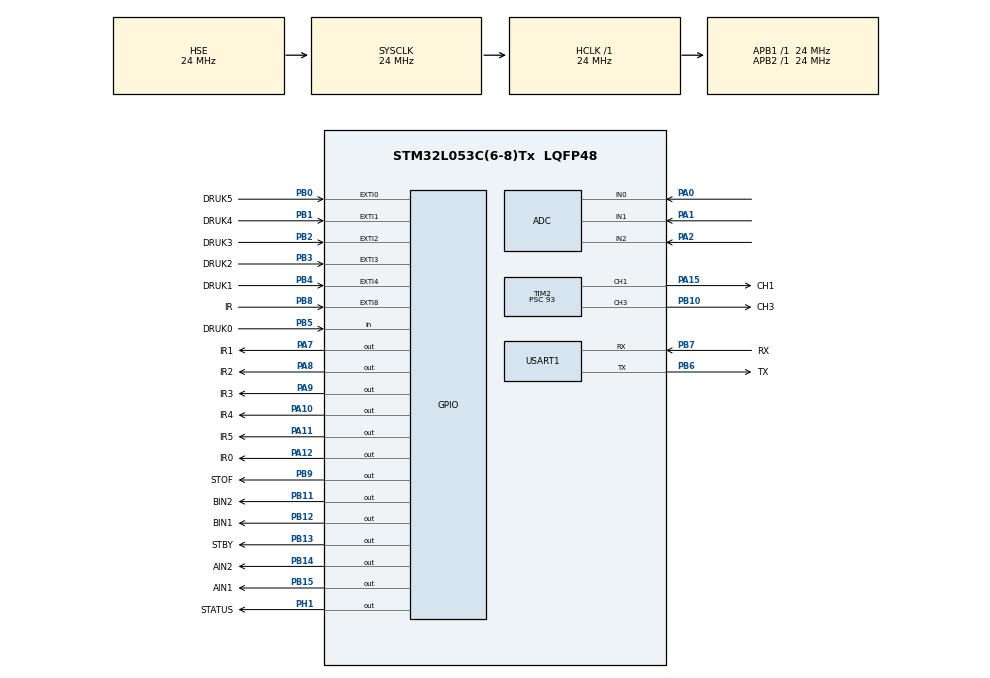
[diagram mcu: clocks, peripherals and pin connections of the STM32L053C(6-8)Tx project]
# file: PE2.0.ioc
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ADC.DiscontinuousConvMode=ENABLE
ADC.EOCSelection=ADC_EOC_SINGLE_CONV
Mcu.Family=STM32L0
Mcu.Name=STM32L053C(6-8)Tx
Mcu.Package=LQFP48
NVIC.EXTI0_1_IRQn=true\:0\:0\:false\:false\:true\:true\:true\:true
NVIC.EXTI2_3_IRQn=true\:0\:0\:false\:false\:true\:true\:true\:true
NVIC.EXTI4_15_IRQn=true\:0\:0\:false\:false\:true\:true\:true\:true
NVIC.TIM6_DAC_IRQn=true\:0\:0\:false\:false\:true\:true\:true\:true
PA0.Mode=IN0
PA0.Signal=ADC_IN0
PA1.Mode=IN1
PA1.Signal=ADC_IN1
PA10.GPIO_Label=IR4
PA10.GPIO_ModeDefaultOutputPP=GPIO_MODE_OUTPUT_PP
PA10.GPIO_PuPd=GPIO_NOPULL
PA10.GPIO_Speed=GPIO_SPEED_FREQ_LOW
PA10.PinState=GPIO_PIN_RESET
PA10.Signal=GPIO_Output
PA11.GPIO_Label=IR5
PA11.GPIO_ModeDefaultOutputPP=GPIO_MODE_OUTPUT_PP
PA11.GPIO_PuPd=GPIO_NOPULL
PA11.GPIO_Speed=GPIO_SPEED_FREQ_LOW
PA11.PinState=GPIO_PIN_RESET
PA11.Signal=GPIO_Output
PA12.GPIO_Label=IR0
PA12.GPIO_ModeDefaultOutputPP=GPIO_MODE_OUTPUT_PP
PA12.GPIO_PuPd=GPIO_NOPULL
PA12.GPIO_Speed=GPIO_SPEED_FREQ_LOW
PA12.PinState=GPIO_PIN_RESET
PA12.Signal=GPIO_Output
PA13.Mode=Serial_Wire
PA13.Signal=SYS_SWDIO
PA14.Mode=Serial_Wire
PA14.Signal=SYS_SWCLK
PA15.GPIO_Label=CH1
PA15.GPIO_ModeDefaultPP=GPIO_MODE_AF_PP
PA15.GPIO_PuPd=GPIO_NOPULL
PA15.GPIO_Speed=GPIO_SPEED_FREQ_LOW
PA15.Signal=S_TIM2_CH1
PA2.Mode=IN2
PA2.Signal=ADC_IN2
PA7.GPIO_Label=IR1
PA7.GPIO_ModeDefaultOutputPP=GPIO_MODE_OUTPUT_PP
PA7.GPIO_PuPd=GPIO_NOPULL
PA7.GPIO_Speed=GPIO_SPEED_FREQ_LOW
PA7.PinState=GPIO_PIN_RESET
PA7.Signal=GPIO_Output
PA8.GPIO_Label=IR2
PA8.GPIO_ModeDefaultOutputPP=GPIO_MODE_OUTPUT_PP
PA8.GPIO_PuPd=GPIO_NOPULL
PA8.GPIO_Speed=GPIO_SPEED_FREQ_LOW
PA8.PinState=GPIO_PIN_RESET
PA8.Signal=GPIO_Output
PA9.GPIO_Label=IR3
PA9.GPIO_ModeDefaultOutputPP=GPIO_MODE_OUTPUT_PP
PA9.GPIO_PuPd=GPIO_NOPULL
PA9.GPIO_Speed=GPIO_SPEED_FREQ_LOW
PA9.PinState=GPIO_PIN_RESET
PA9.Signal=GPIO_Output
PB0.GPIO_Label=DRUK5
PB0.GPIO_ModeDefaultEXTI=GPIO_MODE_IT_FALLING
PB0.GPIO_PuPd=GPIO_PULLUP
PB0.Signal=GPXTI0
PB1.GPIO_Label=DRUK4
PB1.GPIO_ModeDefaultEXTI=GPIO_MODE_IT_FALLING
PB1.GPIO_PuPd=GPIO_PULLUP
PB1.Signal=GPXTI1
PB10.GPIO_Label=CH3
PB10.GPIO_ModeDefaultPP=GPIO_MODE_AF_PP
PB10.GPIO_PuPd=GPIO_NOPULL
PB10.GPIO_Speed=GPIO_SPEED_FREQ_LOW
PB10.Signal=S_TIM2_CH3
PB11.GPIO_Label=BIN2
PB11.Signal=GPIO_Output
PB12.GPIO_Label=BIN1
PB12.Signal=GPIO_Output
PB13.GPIO_Label=STBY
PB13.Signal=GPIO_Output
PB14.GPIO_Label=AIN2
PB14.Signal=GPIO_Output
PB15.GPIO_Label=AIN1
PB15.Signal=GPIO_Output
PB2.GPIO_Label=DRUK3
PB2.GPIO_ModeDefaultEXTI=GPIO_MODE_IT_FALLING
PB2.GPIO_PuPd=GPIO_PULLUP
PB2.Signal=GPXTI2
PB3.GPIO_Label=DRUK2
PB3.GPIO_ModeDefaultEXTI=GPIO_MODE_IT_FALLING
PB3.GPIO_PuPd=GPIO_PULLUP
PB3.Signal=GPXTI3
PB4.GPIO_Label=DRUK1
PB4.GPIO_ModeDefaultEXTI=GPIO_MODE_IT_FALLING
PB4.GPIO_PuPd=GPIO_PULLUP
PB4.Signal=GPXTI4
PB5.GPIO_Label=DRUK0
PB5.GPIO_PuPd=GPIO_PULLUP
PB5.Signal=GPIO_Input
PB6.GPIO_Label=TX
PB6.Mode=Asynchronous
PB6.Signal=USART1_TX
PB7.GPIO_Label=RX
PB7.Mode=Asynchronous
PB7.Signal=USART1_RX
PB8.GPIO_Label=IR
PB8.GPIO_ModeDefaultEXTI=GPIO_MODE_IT_FALLING
PB8.Signal=GPXTI8
PB9.GPIO_Label=STOF
PB9.Signal=GPIO_Output
PH0-OSC_IN.GPIO_Label=OSC
PH0-OSC_IN.Mode=HSE-External-Clock-Source
PH0-OSC_IN.Signal=RCC_OSC_IN
PH1-OSC_OUT.GPIO_Label=STATUS
PH1-OSC_OUT.Signal=GPIO_Output
ProjectManager.HeapSize=0x200
ProjectManager.StackSize=0x400
ProjectManager.TargetToolchain=STM32CubeIDE
RCC.AHBFreq_Value=24000000
RCC.APB1Freq_Value=24000000
RCC.APB1TimFreq_Value=24000000
RCC.APB2Freq_Value=24000000
RCC.APB2TimFreq_Value=24000000
RCC.HCLKFreq_Value=24000000
RCC.HSE_VALUE=24000000
RCC.HSI16_VALUE=16000000
RCC.HSI48_VALUE=48000000
RCC.HSI_VALUE=16000000
RCC.LSE_VALUE=32768
RCC.MSI_VALUE=2097000
RCC.SYSCLKFreq_VALUE=24000000
RCC.SYSCLKSource=RCC_SYSCLKSOURCE_HSE
RCC.VCOOutputFreq_Value=48000000
SH.S_TIM2_CH1.0=TIM2_CH1,PWM Generation1 CH1
SH.S_TIM2_CH3.0=TIM2_CH3,PWM Generation3 CH3
TIM2.AutoReloadPreload=TIM_AUTORELOAD_PRELOAD_ENABLE
TIM2.Channel-PWM\ Generation1\ CH1=TIM_CHANNEL_1
TIM2.Channel-PWM\ Generation3\ CH3=TIM_CHANNEL_3
TIM2.Period=255
TIM2.Prescaler=93
TIM6.AutoReloadPreload=TIM_AUTORELOAD_PRELOAD_ENABLE
TIM6.Period=255
TIM6.Prescaler=192
USART1.VirtualMode-Asynchronous=VM_ASYNC
VP_TIM2_VS_ClockSourceINT.Mode=Internal
VP_TIM6_VS_ClockSourceINT.Mode=Enable_Timer
board=custom

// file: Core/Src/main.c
/* USER CODE BEGIN Header */
/**
  ******************************************************************************
  * @file           : main.c
  * @brief          : Main program body
  ******************************************************************************
  * @attention
  *
  * Copyright (c) 2025 STMicroelectronics.
  * All rights reserved.
  *
  * This software is licensed under terms that can be found in the LICENSE file
  * in the root directory of this software component.
  * If no LICENSE file comes with this software, it is provided AS-IS.
  *
  ******************************************************************************
  */
/* USER CODE END Header */
#include "main.h"

/* USER CODE BEGIN Includes */
#include <stdio.h>
/* USER CODE END Includes */

/* USER CODE BEGIN PM */
#define VOORUIT (GPIOB->BSRR = 0xF800B000);
#define ACHTERUIT (GPIOB->BSRR = 0xF8006800);
#define LINKS (GPIOB->BSRR = 0xF800A800);
#define RECHTS (GPIOB->BSRR = 0xF8007000);
#define UIT (GPIOB->BSRR = 0xF8000000);
#define NORMAL_SPEED 255
#define DOCK_SPEED 145
#define IR_SENSOR_COUNT 3
#define IR_SENSOR_DISTANCE 1500
#define IR_MID_SENSOR_DISTANCE 2200
#define ACHTERUIT_DELAY 500
#define DRAAI_DELAY 1500
#define LANG_DRAAI_DELAY 3000
/* USER CODE END PM */

ADC_HandleTypeDef hadc;

TIM_HandleTypeDef htim2;
TIM_HandleTypeDef htim6;

UART_HandleTypeDef huart1;

/* USER CODE BEGIN PV */
uint8_t sample = 0;
uint8_t data = 0;
uint8_t data_ready = 0;
uint8_t data_beacon = 0;
/* USER CODE END PV */

void SystemClock_Config(void);
static void MX_GPIO_Init(void);
static void MX_ADC_Init(void);
static void MX_TIM2_Init(void);
static void MX_USART1_UART_Init(void);
static void MX_TIM6_Init(void);
/* USER CODE BEGIN PFP */
int _write(int, char *, int);
void HAL_TIM_PeriodElapsedCallback (TIM_HandleTypeDef *);
void HAL_GPIO_EXTI_Callback(uint16_t);
void readAdc(uint32_t []);
uint8_t driveDock(uint8_t, uint32_t [], uint8_t *, uint8_t *);
void driveNormal(uint32_t []);
/* USER CODE END PFP */

/* USER CODE BEGIN 0 */
int _write(int file, char *ptr, int len) {
	for(int i = 0; i < len; i++){
		if(ptr[i]=='\n'){
			HAL_UART_Transmit(&huart1, (uint8_t*)"\r", 1, HAL_MAX_DELAY);
		}
		HAL_UART_Transmit(&huart1, (uint8_t*)&ptr[i], 1, HAL_MAX_DELAY);
	}
    return len;
}
void HAL_TIM_PeriodElapsedCallback (TIM_HandleTypeDef *htim)
{
	//HAL_GPIO_TogglePin(PIN_GPIO_Port, PIN_Pin);
	sample = !HAL_GPIO_ReadPin(IR_GPIO_Port, IR_Pin); //MSB eerst
	data = (data << 1) | sample; //actief lage pin => bit toggelen
	HAL_TIM_Base_Stop_IT(&htim6);
	__HAL_TIM_SET_COUNTER(&htim6, 0);
	if ((data == 0xa4) || (data == 0xa8) || (data == 0xac))
	{
		data_ready = data;
	}
	if (data == 0xa1)
	{
		data_beacon = data;
	}
}
void HAL_GPIO_EXTI_Callback(uint16_t IR_EXTI_IRQn)
{
	HAL_TIM_Base_Start_IT(&htim6);
}
void readAdc(uint32_t result[])
{
	ADC_ChannelConfTypeDef sConfig = {0};

	sConfig.Channel = ADC_CHANNEL_0;
	HAL_ADC_ConfigChannel(&hadc, &sConfig);
	HAL_ADC_Start(&hadc);
	HAL_ADC_PollForConversion(&hadc, 1);
	result[0] = HAL_ADC_GetValue(&hadc);

	sConfig.Channel = ADC_CHANNEL_1;
	HAL_ADC_ConfigChannel(&hadc, &sConfig);
	HAL_ADC_Start(&hadc);
	HAL_ADC_PollForConversion(&hadc, 1);
	result[2] = HAL_ADC_GetValue(&hadc);

	sConfig.Channel = ADC_CHANNEL_2;
	HAL_ADC_ConfigChannel(&hadc, &sConfig);
	HAL_ADC_Start(&hadc);
	HAL_ADC_PollForConversion(&hadc, 1);
	result[1] = HAL_ADC_GetValue(&hadc);

	printf("RECHTS: %ld, MIDDEN: %ld, LINKS: %ld\n", result[0], result[2], result[1]);
}
uint8_t driveDock(uint8_t state_dock, uint32_t adc_values[], uint8_t *drive_dock, uint8_t *detect_dock)
{
	switch (state_dock)
	{
	case 0:
		htim2.Instance->CCR1 = DOCK_SPEED; //Duty Cycle op 50% => led 38kHz
		htim2.Instance->CCR3 = DOCK_SPEED; //Duty Cycle op 50% => led 38kHz
		readAdc(adc_values);
		driveNormal(adc_values);

		if (data_ready == 0xac)
		{
			(*detect_dock)++;
		}

		if (*detect_dock == 1) //150 ms delay
		{
			state_dock = 1;
		}
		break;
	case 1:
		if (data_ready == 0xa4)
		{
			VOORUIT;
			htim2.Instance->CCR1 = 0; //Duty Cycle op 50% => led 38kHz
			htim2.Instance->CCR3 = DOCK_SPEED; //Duty Cycle op 50% => led 38kHz
		}
		else if (data_ready == 0xa8)
		{
			VOORUIT;
			htim2.Instance->CCR1 = DOCK_SPEED; //Duty Cycle op 50% => led 38kHz
			htim2.Instance->CCR3 = 0; //Duty Cycle op 50% => led 38kHz
		}
		else if (data_ready == 0xac)
		{
			VOORUIT;
			htim2.Instance->CCR1 = DOCK_SPEED; //Duty Cycle op 50% => led 38kHz
			htim2.Instance->CCR3 = DOCK_SPEED; //Duty Cycle op 50% => led 38kHz
		}

		readAdc(adc_values);
		if (adc_values[2] > IR_SENSOR_DISTANCE)
		{
			state_dock = 2;
		}
		break;
	case 2:
		UIT;
		data_ready = 0;
		data_beacon = 0;
		if (!HAL_GPIO_ReadPin(DRUK0_GPIO_Port, DRUK0_Pin))
		{
			while (!HAL_GPIO_ReadPin(DRUK0_GPIO_Port, DRUK0_Pin));
			ACHTERUIT;
			htim2.Instance->CCR1 = DOCK_SPEED; //Duty Cycle op 50% => led 38kHz
			htim2.Instance->CCR3 = DOCK_SPEED; //Duty Cycle op 50% => led 38kHz
			HAL_Delay(ACHTERUIT_DELAY);
			RECHTS;
			HAL_Delay(DRAAI_DELAY);
			*drive_dock = 0;
			*detect_dock = 0;
			state_dock = 0;
		}
		break;
	}
	return state_dock;
}
void driveNormal(uint32_t adc_values[])
{
	if (HAL_GPIO_ReadPin(DRUK4_GPIO_Port, DRUK4_Pin) == 0) //bumper links
	{
		ACHTERUIT;
		HAL_Delay(ACHTERUIT_DELAY);
		LINKS;
		HAL_Delay(DRAAI_DELAY);
	}
	else if (HAL_GPIO_ReadPin(DRUK2_GPIO_Port, DRUK2_Pin) == 0) //bumper rechts
	{
		ACHTERUIT;
		HAL_Delay(ACHTERUIT_DELAY);
		RECHTS;
		HAL_Delay(DRAAI_DELAY);
	}
	else if (HAL_GPIO_ReadPin(DRUK1_GPIO_Port, DRUK1_Pin) == 0) //bumper rechts
	{
		ACHTERUIT;
		HAL_Delay(ACHTERUIT_DELAY);
		LINKS;
		HAL_Delay(LANG_DRAAI_DELAY);
	}

	if (adc_values[0] > IR_SENSOR_DISTANCE && adc_values[1] < IR_SENSOR_DISTANCE)
	{
		LINKS;
		//VOORUIT;
		//htim2.Instance->CCR1 = NORMAL_SPEED; //Duty Cycle op 50% => led 38kHz
		//htim2.Instance->CCR3 = 0; //Duty Cycle op 50% => led 38kHz
	}
	else if (adc_values[1] > IR_SENSOR_DISTANCE && adc_values[0] < IR_SENSOR_DISTANCE)
	{
		RECHTS;
		//VOORUIT;
		//htim2.Instance->CCR1 = 0; //Duty Cycle op 50% => led 38kHz
		//htim2.Instance->CCR3 = NORMAL_SPEED; //Duty Cycle op 50% => led 38kHz
	}
	else if (adc_values[0] > IR_MID_SENSOR_DISTANCE && adc_values[1] > IR_MID_SENSOR_DISTANCE)
	{
		ACHTERUIT;
		HAL_Delay(ACHTERUIT_DELAY);
		if (adc_values[0] > adc_values[1])
		{
			LINKS;
			HAL_Delay(DRAAI_DELAY);
		}
		else
		{	RECHTS;
			HAL_Delay(DRAAI_DELAY);
		}
	}
	else if (adc_values[2] > IR_MID_SENSOR_DISTANCE)
	{
		ACHTERUIT;
		HAL_Delay(ACHTERUIT_DELAY);
		if (adc_values[0] > adc_values[1])
		{
			LINKS;
			HAL_Delay(DRAAI_DELAY);
		}
		else
		{
			RECHTS;
			HAL_Delay(DRAAI_DELAY);
		}
	}
	else
	{
		VOORUIT;
		//htim2.Instance->CCR1 = NORMAL_SPEED; //Duty Cycle op 50% => led 38kHz
		//htim2.Instance->CCR3 = NORMAL_SPEED; //Duty Cycle op 50% => led 38kHz
	}
}
/* USER CODE END 0 */

int main(void)
{

  /* USER CODE BEGIN 1 */
	uint32_t adc_values[IR_SENSOR_COUNT];
	uint8_t drive_dock = 0;
	uint8_t state_dock = 0;
	uint8_t detect_dock = 0;
  /* USER CODE END 1 */

  /* MCU Configuration--------------------------------------------------------*/

  /* Reset of all peripherals, Initializes the Flash interface and the Systick. */
  HAL_Init();

  /* Configure the system clock */
  SystemClock_Config();

  /* Initialize all configured peripherals */
  MX_GPIO_Init();
  MX_ADC_Init();
  MX_TIM2_Init();
  MX_USART1_UART_Init();
  MX_TIM6_Init();
  /* USER CODE BEGIN 2 */
  HAL_GPIO_WritePin(IR0_GPIO_Port, IR0_Pin, 1);
  HAL_GPIO_WritePin(IR1_GPIO_Port, IR1_Pin, 1);
  HAL_GPIO_WritePin(IR2_GPIO_Port, IR2_Pin, 1);
  HAL_TIM_PWM_Start(&htim2, TIM_CHANNEL_1);
  HAL_TIM_PWM_Start(&htim2, TIM_CHANNEL_3);
  HAL_Delay(50); //sensors moeten opstarten
  /* USER CODE END 2 */

  /* Infinite loop */
  while (1)
  {

    /* USER CODE BEGIN 3 */
	  switch (drive_dock)
	  {
	  case 0:
		  if (!HAL_GPIO_ReadPin(DRUK0_GPIO_Port, DRUK0_Pin))
		  {
			  while (!HAL_GPIO_ReadPin(DRUK0_GPIO_Port, DRUK0_Pin));
			  drive_dock ^= 1;
		  }
		  HAL_GPIO_WritePin(STOF_GPIO_Port, STOF_Pin, 1);
		  htim2.Instance->CCR1 = NORMAL_SPEED; //Duty Cycle op 50% => led 38kHz
		  htim2.Instance->CCR3 = NORMAL_SPEED; //Duty Cycle op 50% => led 38kHz
		  readAdc(adc_values);
		  printf("l: %d, m: %d, r: %d, ", HAL_GPIO_ReadPin(DRUK4_GPIO_Port, DRUK4_Pin), HAL_GPIO_ReadPin(DRUK1_GPIO_Port, DRUK1_Pin), HAL_GPIO_ReadPin(DRUK2_GPIO_Port, DRUK2_Pin));
		  driveNormal(adc_values);
		  break;
	  case 1:
		  HAL_GPIO_WritePin(STOF_GPIO_Port, STOF_Pin, 0);
		  printf("data: %x, %x, %d\n", data_ready, data_beacon, state_dock);
		  state_dock = driveDock(state_dock, adc_values, &drive_dock, &detect_dock);
		  break;
	  }
  }
  /* USER CODE END 3 */
}

void SystemClock_Config(void)
{
  RCC_OscInitTypeDef RCC_OscInitStruct = {0};
  RCC_ClkInitTypeDef RCC_ClkInitStruct = {0};
  RCC_PeriphCLKInitTypeDef PeriphClkInit = {0};

  /** Configure the main internal regulator output voltage
  */
  __HAL_PWR_VOLTAGESCALING_CONFIG(PWR_REGULATOR_VOLTAGE_SCALE1);

  /** Initializes the RCC Oscillators according to the specified parameters
  * in the RCC_OscInitTypeDef structure.
  */
  RCC_OscInitStruct.OscillatorType = RCC_OSCILLATORTYPE_HSE;
  RCC_OscInitStruct.HSEState = RCC_HSE_BYPASS;
  RCC_OscInitStruct.PLL.PLLState = RCC_PLL_NONE;
  if (HAL_RCC_OscConfig(&RCC_OscInitStruct) != HAL_OK)
  {
    Error_Handler();
  }

  /** Initializes the CPU, AHB and APB buses clocks
  */
  RCC_ClkInitStruct.ClockType = RCC_CLOCKTYPE_HCLK|RCC_CLOCKTYPE_SYSCLK
                              |RCC_CLOCKTYPE_PCLK1|RCC_CLOCKTYPE_PCLK2;
  RCC_ClkInitStruct.SYSCLKSource = RCC_SYSCLKSOURCE_HSE;
  RCC_ClkInitStruct.AHBCLKDivider = RCC_SYSCLK_DIV1;
  RCC_ClkInitStruct.APB1CLKDivider = RCC_HCLK_DIV1;
  RCC_ClkInitStruct.APB2CLKDivider = RCC_HCLK_DIV1;

  if (HAL_RCC_ClockConfig(&RCC_ClkInitStruct, FLASH_LATENCY_1) != HAL_OK)
  {
    Error_Handler();
  }
  PeriphClkInit.PeriphClockSelection = RCC_PERIPHCLK_USART1;
  PeriphClkInit.Usart1ClockSelection = RCC_USART1CLKSOURCE_PCLK2;
  if (HAL_RCCEx_PeriphCLKConfig(&PeriphClkInit) != HAL_OK)
  {
    Error_Handler();
  }
}

static void MX_ADC_Init(void)
{

  ADC_ChannelConfTypeDef sConfig = {0};

  /** Configure the global features of the ADC (Clock, Resolution, Data Alignment and number of conversion)
  */
  hadc.Instance = ADC1;
  hadc.Init.OversamplingMode = DISABLE;
  hadc.Init.ClockPrescaler = ADC_CLOCK_SYNC_PCLK_DIV2;
  hadc.Init.Resolution = ADC_RESOLUTION_12B;
  hadc.Init.SamplingTime = ADC_SAMPLETIME_1CYCLE_5;
  hadc.Init.ScanConvMode = ADC_SCAN_DIRECTION_FORWARD;
  hadc.Init.DataAlign = ADC_DATAALIGN_RIGHT;
  hadc.Init.ContinuousConvMode = DISABLE;
  hadc.Init.DiscontinuousConvMode = ENABLE;
  hadc.Init.ExternalTrigConvEdge = ADC_EXTERNALTRIGCONVEDGE_NONE;
  hadc.Init.ExternalTrigConv = ADC_SOFTWARE_START;
  hadc.Init.DMAContinuousRequests = DISABLE;
  hadc.Init.EOCSelection = ADC_EOC_SINGLE_CONV;
  hadc.Init.Overrun = ADC_OVR_DATA_PRESERVED;
  hadc.Init.LowPowerAutoWait = DISABLE;
  hadc.Init.LowPowerFrequencyMode = DISABLE;
  hadc.Init.LowPowerAutoPowerOff = DISABLE;
  if (HAL_ADC_Init(&hadc) != HAL_OK)
  {
    Error_Handler();
  }

  /** Configure for the selected ADC regular channel to be converted.
  */
  sConfig.Channel = ADC_CHANNEL_0;
  sConfig.Rank = ADC_RANK_CHANNEL_NUMBER;
  if (HAL_ADC_ConfigChannel(&hadc, &sConfig) != HAL_OK)
  {
    Error_Handler();
  }

  /** Configure for the selected ADC regular channel to be converted.
  */
  sConfig.Channel = ADC_CHANNEL_1;
  if (HAL_ADC_ConfigChannel(&hadc, &sConfig) != HAL_OK)
  {
    Error_Handler();
  }

  /** Configure for the selected ADC regular channel to be converted.
  */
  sConfig.Channel = ADC_CHANNEL_2;
  if (HAL_ADC_ConfigChannel(&hadc, &sConfig) != HAL_OK)
  {
    Error_Handler();
  }

}

static void MX_TIM2_Init(void)
{

  TIM_ClockConfigTypeDef sClockSourceConfig = {0};
  TIM_MasterConfigTypeDef sMasterConfig = {0};
  TIM_OC_InitTypeDef sConfigOC = {0};

  htim2.Instance = TIM2;
  htim2.Init.Prescaler = 93;
  htim2.Init.CounterMode = TIM_COUNTERMODE_UP;
  htim2.Init.Period = 255;
  htim2.Init.ClockDivision = TIM_CLOCKDIVISION_DIV1;
  htim2.Init.AutoReloadPreload = TIM_AUTORELOAD_PRELOAD_ENABLE;
  if (HAL_TIM_Base_Init(&htim2) != HAL_OK)
  {
    Error_Handler();
  }
  sClockSourceConfig.ClockSource = TIM_CLOCKSOURCE_INTERNAL;
  if (HAL_TIM_ConfigClockSource(&htim2, &sClockSourceConfig) != HAL_OK)
  {
    Error_Handler();
  }
  if (HAL_TIM_PWM_Init(&htim2) != HAL_OK)
  {
    Error_Handler();
  }
  sMasterConfig.MasterOutputTrigger = TIM_TRGO_RESET;
  sMasterConfig.MasterSlaveMode = TIM_MASTERSLAVEMODE_DISABLE;
  if (HAL_TIMEx_MasterConfigSynchronization(&htim2, &sMasterConfig) != HAL_OK)
  {
    Error_Handler();
  }
  sConfigOC.OCMode = TIM_OCMODE_PWM1;
  sConfigOC.Pulse = 0;
  sConfigOC.OCPolarity = TIM_OCPOLARITY_HIGH;
  sConfigOC.OCFastMode = TIM_OCFAST_DISABLE;
  if (HAL_TIM_PWM_ConfigChannel(&htim2, &sConfigOC, TIM_CHANNEL_1) != HAL_OK)
  {
    Error_Handler();
  }
  if (HAL_TIM_PWM_ConfigChannel(&htim2, &sConfigOC, TIM_CHANNEL_3) != HAL_OK)
  {
    Error_Handler();
  }
  HAL_TIM_MspPostInit(&htim2);

}

static void MX_TIM6_Init(void)
{

  TIM_MasterConfigTypeDef sMasterConfig = {0};

  htim6.Instance = TIM6;
  htim6.Init.Prescaler = 192;
  htim6.Init.CounterMode = TIM_COUNTERMODE_UP;
  htim6.Init.Period = 255;
  htim6.Init.AutoReloadPreload = TIM_AUTORELOAD_PRELOAD_ENABLE;
  if (HAL_TIM_Base_Init(&htim6) != HAL_OK)
  {
    Error_Handler();
  }
  sMasterConfig.MasterOutputTrigger = TIM_TRGO_RESET;
  sMasterConfig.MasterSlaveMode = TIM_MASTERSLAVEMODE_DISABLE;
  if (HAL_TIMEx_MasterConfigSynchronization(&htim6, &sMasterConfig) != HAL_OK)
  {
    Error_Handler();
  }

}

static void MX_USART1_UART_Init(void)
{

  huart1.Instance = USART1;
  huart1.Init.BaudRate = 115200;
  huart1.Init.WordLength = UART_WORDLENGTH_8B;
  huart1.Init.StopBits = UART_STOPBITS_1;
  huart1.Init.Parity = UART_PARITY_NONE;
  huart1.Init.Mode = UART_MODE_TX_RX;
  huart1.Init.HwFlowCtl = UART_HWCONTROL_NONE;
  huart1.Init.OverSampling = UART_OVERSAMPLING_16;
  huart1.Init.OneBitSampling = UART_ONE_BIT_SAMPLE_DISABLE;
  huart1.AdvancedInit.AdvFeatureInit = UART_ADVFEATURE_NO_INIT;
  if (HAL_UART_Init(&huart1) != HAL_OK)
  {
    Error_Handler();
  }

}

static void MX_GPIO_Init(void)
{
  GPIO_InitTypeDef GPIO_InitStruct = {0};

  /* GPIO Ports Clock Enable */
  __HAL_RCC_GPIOH_CLK_ENABLE();
  __HAL_RCC_GPIOA_CLK_ENABLE();
  __HAL_RCC_GPIOB_CLK_ENABLE();

  /*Configure GPIO pin Output Level */
  HAL_GPIO_WritePin(STATUS_GPIO_Port, STATUS_Pin, GPIO_PIN_RESET);

  /*Configure GPIO pin Output Level */
  HAL_GPIO_WritePin(GPIOA, IR1_Pin|IR2_Pin|IR3_Pin|IR4_Pin
                          |IR5_Pin|IR0_Pin, GPIO_PIN_RESET);

  /*Configure GPIO pin Output Level */
  HAL_GPIO_WritePin(GPIOB, BIN2_Pin|BIN1_Pin|STBY_Pin|AIN2_Pin
                          |AIN1_Pin|STOF_Pin, GPIO_PIN_RESET);

  /*Configure GPIO pin : STATUS_Pin */
  GPIO_InitStruct.Pin = STATUS_Pin;
  GPIO_InitStruct.Mode = GPIO_MODE_OUTPUT_PP;
  GPIO_InitStruct.Pull = GPIO_NOPULL;
  GPIO_InitStruct.Speed = GPIO_SPEED_FREQ_LOW;
  HAL_GPIO_Init(STATUS_GPIO_Port, &GPIO_InitStruct);

  /*Configure GPIO pins : IR1_Pin IR2_Pin IR3_Pin IR4_Pin
                           IR5_Pin IR0_Pin */
  GPIO_InitStruct.Pin = IR1_Pin|IR2_Pin|IR3_Pin|IR4_Pin
                          |IR5_Pin|IR0_Pin;
  GPIO_InitStruct.Mode = GPIO_MODE_OUTPUT_PP;
  GPIO_InitStruct.Pull = GPIO_NOPULL;
  GPIO_InitStruct.Speed = GPIO_SPEED_FREQ_LOW;
  HAL_GPIO_Init(GPIOA, &GPIO_InitStruct);

  /*Configure GPIO pins : DRUK5_Pin DRUK4_Pin DRUK3_Pin DRUK2_Pin
                           DRUK1_Pin */
  GPIO_InitStruct.Pin = DRUK5_Pin|DRUK4_Pin|DRUK3_Pin|DRUK2_Pin
                          |DRUK1_Pin;
  GPIO_InitStruct.Mode = GPIO_MODE_IT_FALLING;
  GPIO_InitStruct.Pull = GPIO_PULLUP;
  HAL_GPIO_Init(GPIOB, &GPIO_InitStruct);

  /*Configure GPIO pins : BIN2_Pin BIN1_Pin STBY_Pin AIN2_Pin
                           AIN1_Pin STOF_Pin */
  GPIO_InitStruct.Pin = BIN2_Pin|BIN1_Pin|STBY_Pin|AIN2_Pin
                          |AIN1_Pin|STOF_Pin;
  GPIO_InitStruct.Mode = GPIO_MODE_OUTPUT_PP;
  GPIO_InitStruct.Pull = GPIO_NOPULL;
  GPIO_InitStruct.Speed = GPIO_SPEED_FREQ_LOW;
  HAL_GPIO_Init(GPIOB, &GPIO_InitStruct);

  /*Configure GPIO pin : DRUK0_Pin */
  GPIO_InitStruct.Pin = DRUK0_Pin;
  GPIO_InitStruct.Mode = GPIO_MODE_INPUT;
  GPIO_InitStruct.Pull = GPIO_PULLUP;
  HAL_GPIO_Init(DRUK0_GPIO_Port, &GPIO_InitStruct);

  /*Configure GPIO pin : IR_Pin */
  GPIO_InitStruct.Pin = IR_Pin;
  GPIO_InitStruct.Mode = GPIO_MODE_IT_FALLING;
  GPIO_InitStruct.Pull = GPIO_NOPULL;
  HAL_GPIO_Init(IR_GPIO_Port, &GPIO_InitStruct);

  /* EXTI interrupt init*/
  HAL_NVIC_SetPriority(EXTI0_1_IRQn, 0, 0);
  HAL_NVIC_EnableIRQ(EXTI0_1_IRQn);

  HAL_NVIC_SetPriority(EXTI2_3_IRQn, 0, 0);
  HAL_NVIC_EnableIRQ(EXTI2_3_IRQn);

  HAL_NVIC_SetPriority(EXTI4_15_IRQn, 0, 0);
  HAL_NVIC_EnableIRQ(EXTI4_15_IRQn);

}

void Error_Handler(void)
{
  __disable_irq();
  while (1)
  {
  }
}
